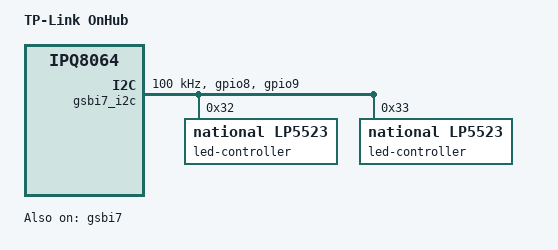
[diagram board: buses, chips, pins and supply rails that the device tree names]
// SPDX-License-Identifier: GPL-2.0
/*
 * Copyright 2014 The ChromiumOS Authors
 */

#include "qcom-ipq8064-onhub.dtsi"
#include <dt-bindings/gpio/gpio.h>
#include <dt-bindings/leds/common.h>
#include <dt-bindings/soc/qcom,gsbi.h>

/ {
	model = "TP-Link OnHub";
	compatible = "tplink,onhub", "google,whirlwind-sp5", "qcom,ipq8064";
};

&qcom_pinmux {
	i2c7_pins: i2c7_pinmux {
		mux {
			pins = "gpio8", "gpio9";
			function = "gsbi7";
		};
		data {
			pins = "gpio8";
			bias-disable;
		};
		clk {
			pins = "gpio9";
			bias-disable;
		};
	};
};

&gsbi7 {
	status = "okay";
	qcom,mode = <GSBI_PROT_I2C_UART>;
};

&gsbi7_i2c {
	status = "okay";
	clock-frequency = <100000>;
	pinctrl-0 = <&i2c7_pins>;
	pinctrl-names = "default";

	led-controller@32 {
		compatible = "national,lp5523";
		reg = <0x32>;
		clock-mode = /bits/ 8 <1>;
		#address-cells = <1>;
		#size-cells = <0>;

		led@0 {
			reg = <0>;
			color = <LED_COLOR_ID_RED>;
			chan-name = "red:status-0";
			linux,default-trigger = "default-on";
			led-cur = /bits/ 8 <0x64>;
			max-cur = /bits/ 8 <0x78>;
		};

		led@1 {
			reg = <1>;
			color = <LED_COLOR_ID_GREEN>;
			chan-name = "green:status-0";
			led-cur = /bits/ 8 <0x64>;
			max-cur = /bits/ 8 <0x78>;
		};

		led@2 {
			reg = <2>;
			color = <LED_COLOR_ID_BLUE>;
			chan-name = "blue:status-0";
			led-cur = /bits/ 8 <0x64>;
			max-cur = /bits/ 8 <0x78>;
		};

		led@3 {
			reg = <3>;
			color = <LED_COLOR_ID_RED>;
			chan-name = "red:status-1";
			led-cur = /bits/ 8 <0x64>;
			max-cur = /bits/ 8 <0x78>;
		};

		led@4 {
			reg = <4>;
			color = <LED_COLOR_ID_GREEN>;
			chan-name = "green:status-1";
			linux,default-trigger = "default-on";
			led-cur = /bits/ 8 <0x64>;
			max-cur = /bits/ 8 <0x78>;
		};

		led@5 {
			reg = <5>;
			color = <LED_COLOR_ID_BLUE>;
			chan-name = "blue:status-1";
			led-cur = /bits/ 8 <0x64>;
			max-cur = /bits/ 8 <0x78>;
		};

		led@6 {
			reg = <6>;
			color = <LED_COLOR_ID_RED>;
			chan-name = "red:status-2";
			led-cur = /bits/ 8 <0x64>;
			max-cur = /bits/ 8 <0x78>;
		};

		led@7 {
			reg = <7>;
			color = <LED_COLOR_ID_GREEN>;
			chan-name = "green:status-2";
			led-cur = /bits/ 8 <0x64>;
			max-cur = /bits/ 8 <0x78>;
		};

		led@8 {
			reg = <8>;
			color = <LED_COLOR_ID_BLUE>;
			chan-name = "blue:status-2";
			linux,default-trigger = "default-on";
			led-cur = /bits/ 8 <0x64>;
			max-cur = /bits/ 8 <0x78>;
		};
	};

	led-controller@33 {
		compatible = "national,lp5523";
		reg = <0x33>;
		clock-mode = /bits/ 8 <1>;
		#address-cells = <1>;
		#size-cells = <0>;

		led@0 {
			reg = <0>;
			color = <LED_COLOR_ID_RED>;
			chan-name = "red:status-3";
			linux,default-trigger = "default-on";
			led-cur = /bits/ 8 <0x64>;
			max-cur = /bits/ 8 <0x78>;
		};

		led@1 {
			reg = <1>;
			color = <LED_COLOR_ID_GREEN>;
			chan-name = "green:status-3";
			led-cur = /bits/ 8 <0x64>;
			max-cur = /bits/ 8 <0x78>;
		};

		led@2 {
			reg = <2>;
			color = <LED_COLOR_ID_BLUE>;
			chan-name = "blue:status-3";
			led-cur = /bits/ 8 <0x64>;
			max-cur = /bits/ 8 <0x78>;
		};

		led@3 {
			reg = <3>;
			color = <LED_COLOR_ID_RED>;
			chan-name = "red:status-4";
			led-cur = /bits/ 8 <0x64>;
			max-cur = /bits/ 8 <0x78>;
		};

		led@4 {
			reg = <4>;
			color = <LED_COLOR_ID_GREEN>;
			chan-name = "green:status-4";
			linux,default-trigger = "default-on";
			led-cur = /bits/ 8 <0x64>;
			max-cur = /bits/ 8 <0x78>;
		};

		led@5 {
			reg = <5>;
			color = <LED_COLOR_ID_BLUE>;
			chan-name = "blue:status-4";
			led-cur = /bits/ 8 <0x64>;
			max-cur = /bits/ 8 <0x78>;
		};

		led@6 {
			reg = <6>;
			color = <LED_COLOR_ID_RED>;
			chan-name = "red:status-5";
			led-cur = /bits/ 8 <0x64>;
			max-cur = /bits/ 8 <0x78>;
		};

		led@7 {
			reg = <7>;
			color = <LED_COLOR_ID_GREEN>;
			chan-name = "green:status-5";
			led-cur = /bits/ 8 <0x64>;
			max-cur = /bits/ 8 <0x78>;
		};

		led@8 {
			reg = <8>;
			color = <LED_COLOR_ID_BLUE>;
			chan-name = "blue:status-5";
			linux,default-trigger = "default-on";
			led-cur = /bits/ 8 <0x64>;
			max-cur = /bits/ 8 <0x78>;
		};
	};
};
